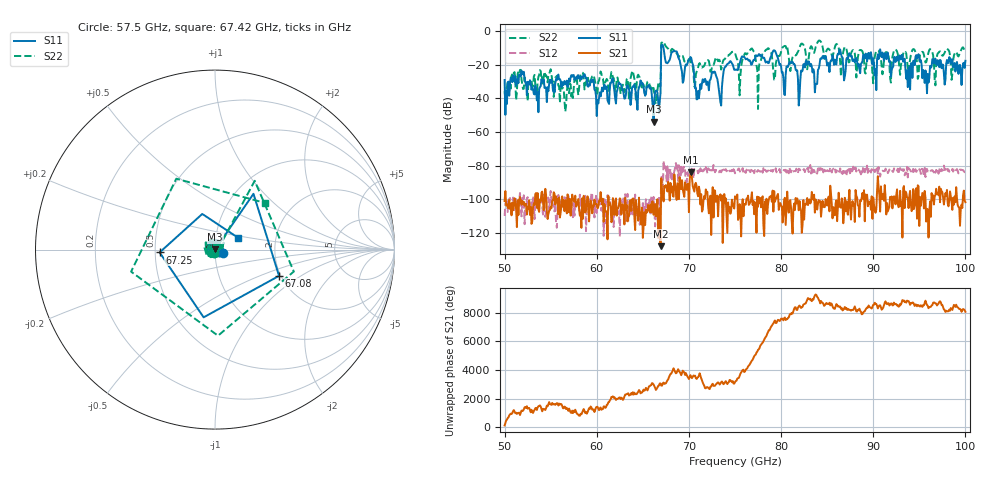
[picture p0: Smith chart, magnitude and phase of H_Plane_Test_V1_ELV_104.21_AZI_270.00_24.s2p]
! 11/27/2026 8:17:02 AM
! C:\ANRITSUVNA\TEMP\TEMP.S2P
! CHANNEL.1
! TR.MEASUREMENT
! RAW.DATA
# HZ S RI R 50.0
! FREQ.HZ  S11RE  S11IM  S21RE  S21IM  S12RE  S12IM  S22RE  S22IM
!; PortSelection: Port_12
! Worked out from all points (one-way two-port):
!   601 points, 50 GHz to 100 GHz, reference 50 ohm
!   highest |S21| = -83.80 dB at 70.25 GHz (marker M1); lowest = -128.0 dB at 66.92 GHz (marker M2)
!   lowest |S11| = -54.0 dB at 66.17 GHz (marker M3), VSWR 1.00, Z = 50.1 + j0.15 ohm
!   |S11| at or under -10 dB: start of sweep to 67 GHz; 67.24 GHz to end of sweep
!   |S22| runs from -48.0 to -5.6 dB; largest |S21 - S12| = 0.00015
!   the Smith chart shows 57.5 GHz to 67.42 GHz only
!   S11 on the Smith chart (normalised r, x): 57.5 GHz: 1.09, -0.05; 67.08 GHz: 1.96, -0.67; 67.25 GHz: 0.53, -0.02; 67.42 GHz: 1.29, +0.17
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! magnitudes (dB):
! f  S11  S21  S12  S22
! 50 GHz  -29.1  -101.1  -110.0  -35.9
! 51.67 GHz  -26.2  -98.7  -96.3  -23.1
! 57.5 GHz  -26.1  -100.5  -102.0  -34.4
! 58.42 GHz  -27.1  -99.5  -103.9  -24.6
! 60.17 GHz  -43.1  -104.5  -100.7  -30.2
! 66.17 GHz  -54.0  -109.2  -98.7  -33.9
! 66.67 GHz  -41.8  -123.0  -108.6  -31.6
! 66.92 GHz  -37.1  -128.0  -105.1  -32.7
! 67.08 GHz  -8.3  -97.2  -86.1  -6.8
! 67.25 GHz  -10.2  -101.3  -77.1  -6.3
! 67.42 GHz  -16.7  -93.0  -80.4  -8.4
! 70.25 GHz  -16.0  -83.8  -83.9  -18.8
! 70.92 GHz  -40.6  -96.7  -83.2  -23.0
! 75 GHz  -23.1  -98.3  -84.6  -13.0
! 79.25 GHz  -11.4  -95.2  -82.5  -28.9
! 80.25 GHz  -28.0  -109.4  -83.1  -9.3
! 83.42 GHz  -24.6  -98.9  -84.2  -10.8
! 91.67 GHz  -16.8  -106.0  -83.7  -15.3
! 93.75 GHz  -33.4  -99.6  -87.1  -21.8
! 94.83 GHz  -14.8  -91.8  -83.1  -28.5
! 95.83 GHz  -37.0  -105.8  -82.1  -16.4
! 100 GHz  -17.7  -101.8  -84.0  -12.6
